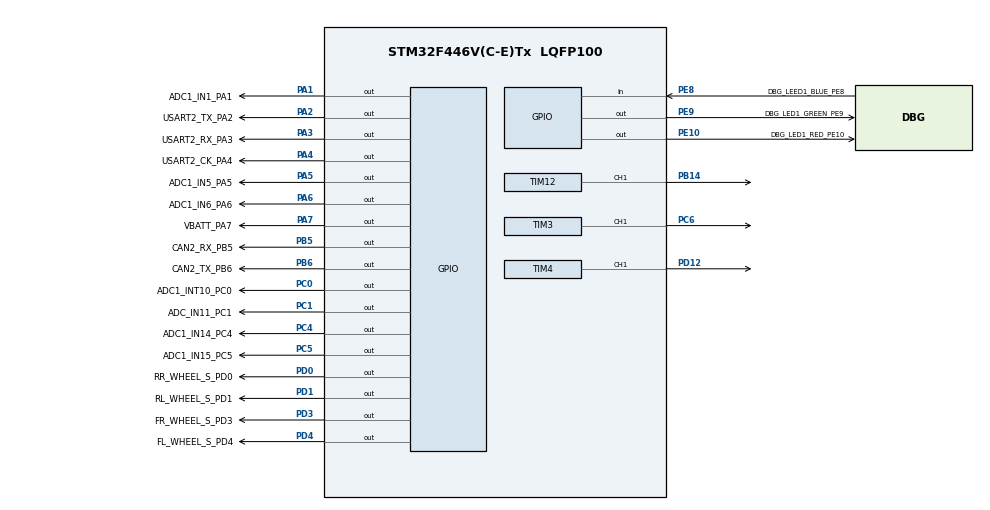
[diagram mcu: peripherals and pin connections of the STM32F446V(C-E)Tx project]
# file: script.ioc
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Mcu.Family=STM32F4
Mcu.Name=STM32F446V(C-E)Tx
Mcu.Package=LQFP100
NVIC.PriorityGroup=NVIC_PRIORITYGROUP_4
PA1.GPIO_Label=ADC1_IN1_PA1
PA1.Signal=GPIO_Output
PA2.GPIO_Label=USART2_TX_PA2
PA2.Signal=GPIO_Output
PA3.GPIO_Label=USART2_RX_PA3
PA3.Signal=GPIO_Output
PA4.GPIO_Label=USART2_CK_PA4
PA4.Signal=GPIO_Output
PA5.GPIO_Label=ADC1_IN5_PA5
PA5.Signal=GPIO_Output
PA6.GPIO_Label=ADC1_IN6_PA6
PA6.Signal=GPIO_Output
PA7.GPIO_Label=VBATT_PA7
PA7.Signal=GPIO_Output
PB14.Signal=S_TIM12_CH1
PB5.GPIO_Label=CAN2_RX_PB5
PB5.Signal=GPIO_Output
PB6.GPIO_Label=CAN2_TX_PB6
PB6.Signal=GPIO_Output
PC0.GPIO_Label=ADC1_INT10_PC0
PC0.Signal=GPIO_Output
PC1.GPIO_Label=ADC_IN11_PC1
PC1.Signal=GPIO_Output
PC4.GPIO_Label=ADC1_IN14_PC4
PC4.Signal=GPIO_Output
PC5.GPIO_Label=ADC1_IN15_PC5
PC5.Signal=GPIO_Output
PC6.Signal=S_TIM3_CH1
PD0.GPIO_Label=RR_WHEEL_S_PD0
PD0.Signal=GPIO_Output
PD1.GPIO_Label=RL_WHEEL_S_PD1
PD1.Signal=GPIO_Output
PD12.Signal=S_TIM4_CH1
PD3.GPIO_Label=FR_WHEEL_S_PD3
PD3.Signal=GPIO_Output
PD4.GPIO_Label=FL_WHEEL_S_PD4
PD4.Signal=GPIO_Output
PE10.GPIO_Label=DBG_LED1_RED_PE10
PE10.Signal=GPIO_Output
PE8.GPIO_Label=DBG_LEED1_BLUE_PE8
PE8.Signal=GPIO_Input
PE9.GPIO_Label=DBG_LED1_GREEN_PE9
PE9.Signal=GPIO_Output
ProjectManager.HeapSize=0x200
ProjectManager.StackSize=0x400
ProjectManager.TargetToolchain=CMake
RCC.CortexFreq_Value=16000000
RCC.USBFreq_Value=96000000
RCC.VCOOutputFreq_Value=192000000
SH.S_TIM12_CH1.0=TIM12_CH1,PWM Generation1 CH1
SH.S_TIM3_CH1.0=TIM3_CH1,PWM Generation1 CH1
SH.S_TIM4_CH1.0=TIM4_CH1,PWM Generation1 CH1
TIM12.Channel-PWM\ Generation1\ CH1=TIM_CHANNEL_1
TIM3.Channel-PWM\ Generation1\ CH1=TIM_CHANNEL_1
TIM4.Channel-PWM\ Generation1\ CH1=TIM_CHANNEL_1
board=custom

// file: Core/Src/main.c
/* USER CODE BEGIN Header */
/**
  ******************************************************************************
  * @file           : main.c
  * @brief          : Main program body
  ******************************************************************************
  * @attention
  *
  * Copyright (c) 2025 STMicroelectronics.
  * All rights reserved.
  *
  * This software is licensed under terms that can be found in the LICENSE file
  * in the root directory of this software component.
  * If no LICENSE file comes with this software, it is provided AS-IS.
  *
  ******************************************************************************
  */
/* USER CODE END Header */
#include "main.h"
#include "tim.h"
#include "gpio.h"

void SystemClock_Config(void);

int main(void)
{

  /* MCU Configuration--------------------------------------------------------*/

  /* Reset of all peripherals, Initializes the Flash interface and the Systick. */
  HAL_Init();

  /* Configure the system clock */
  SystemClock_Config();

  /* Initialize all configured peripherals */
  MX_GPIO_Init();
  MX_TIM3_Init();
  MX_TIM4_Init();
  MX_TIM12_Init();

  /* Infinite loop */
  while (1)
  {

    /* USER CODE BEGIN 3 */

		/**
		*  _____ _____ _____ ____    _______        _
		* / ____|  __ \_   _/ __ \  |__   __|      | |
		*| |  __| |__) || || |  | |    | | ___  ___| |_
		*| | |_ |  ___/ | || |  | |    | |/ _ \/ __| __|
		*| |__| | |    _| || |__| |    | |  __/\__ \ |_
		* \_____|_|   |_____\____/     |_|\___||___/\__|

		*/
	  HAL_GPIO_WritePin(ADC1_IN1_PA1_GPIO_Port, ADC1_IN1_PA1_Pin, GPIO_PIN_RESET);
	  HAL_GPIO_WritePin(USART2_TX_PA2_GPIO_Port, USART2_TX_PA2_Pin, GPIO_PIN_RESET);
	  HAL_GPIO_WritePin(USART2_RX_PA3_GPIO_Port, USART2_RX_PA3_Pin, GPIO_PIN_RESET);
	  HAL_GPIO_WritePin(USART2_CK_PA4_GPIO_Port, USART2_CK_PA4_Pin, GPIO_PIN_RESET);
	  HAL_GPIO_WritePin(ADC1_IN5_PA5_GPIO_Port, ADC1_IN5_PA5_Pin, GPIO_PIN_RESET);
	  HAL_GPIO_WritePin(ADC1_IN6_PA6_GPIO_Port, ADC1_IN6_PA6_Pin, GPIO_PIN_RESET);
	  HAL_GPIO_WritePin(VBATT_PA7_GPIO_Port, VBATT_PA7_Pin, GPIO_PIN_RESET);
	  HAL_GPIO_WritePin(ADC1_IN14_PC4_GPIO_Port, ADC1_IN14_PC4_Pin, GPIO_PIN_RESET);
	  HAL_GPIO_WritePin(ADC1_IN15_PC5_GPIO_Port, ADC1_IN15_PC5_Pin, GPIO_PIN_RESET);
	  HAL_GPIO_WritePin(DBG_LEED1_BLUE_PE8_GPIO_Port, DBG_LEED1_BLUE_PE8_Pin, GPIO_PIN_RESET);
	  HAL_GPIO_WritePin(DBG_LED1_GREEN_PE9_GPIO_Port, DBG_LED1_GREEN_PE9_Pin, GPIO_PIN_RESET);
	  HAL_GPIO_WritePin(DBG_LED1_RED_PE10_GPIO_Port, DBG_LED1_RED_PE10_Pin, GPIO_PIN_RESET);
	  HAL_GPIO_WritePin(RR_WHEEL_S_PD0_GPIO_Port, RR_WHEEL_S_PD0_Pin, GPIO_PIN_RESET);
	  HAL_GPIO_WritePin(RL_WHEEL_S_PD1_GPIO_Port, RL_WHEEL_S_PD1_Pin, GPIO_PIN_RESET);
	  HAL_GPIO_WritePin(FR_WHEEL_S_PD3_GPIO_Port, FR_WHEEL_S_PD3_Pin, GPIO_PIN_RESET);
	  HAL_GPIO_WritePin(FL_WHEEL_S_PD4_GPIO_Port, FL_WHEEL_S_PD4_Pin, GPIO_PIN_RESET);
	  HAL_GPIO_WritePin(CAN2_RX_PB5_GPIO_Port, CAN2_RX_PB5_Pin, GPIO_PIN_RESET);
	  HAL_GPIO_WritePin(CAN2_TX_PB6_GPIO_Port, CAN2_TX_PB6_Pin, GPIO_PIN_RESET);

	  HAL_GPIO_WritePin(GPIOA,GPIO_PIN_0,GPIO_PIN_RESET);
	  HAL_GPIO_WritePin(GPIOC,GPIO_PIN_0,GPIO_PIN_RESET);
	  HAL_GPIO_WritePin(GPIOC,GPIO_PIN_1,GPIO_PIN_RESET);
	  HAL_GPIO_WritePin(GPIOC,GPIO_PIN_2,GPIO_PIN_RESET);
	  HAL_GPIO_WritePin(GPIOC,GPIO_PIN_3,GPIO_PIN_RESET);
	  HAL_GPIO_WritePin(GPIOC,GPIO_PIN_4,GPIO_PIN_RESET);

	  HAL_Delay(500);

	  HAL_GPIO_WritePin(ADC1_IN1_PA1_GPIO_Port, ADC1_IN1_PA1_Pin, GPIO_PIN_SET);
	  HAL_GPIO_WritePin(USART2_TX_PA2_GPIO_Port, USART2_TX_PA2_Pin, GPIO_PIN_SET);
	  HAL_GPIO_WritePin(USART2_RX_PA3_GPIO_Port, USART2_RX_PA3_Pin, GPIO_PIN_SET);
	  HAL_GPIO_WritePin(USART2_CK_PA4_GPIO_Port, USART2_CK_PA4_Pin, GPIO_PIN_SET);
	  HAL_GPIO_WritePin(ADC1_IN5_PA5_GPIO_Port, ADC1_IN5_PA5_Pin, GPIO_PIN_SET);
	  HAL_GPIO_WritePin(ADC1_IN6_PA6_GPIO_Port, ADC1_IN6_PA6_Pin, GPIO_PIN_SET);
	  HAL_GPIO_WritePin(VBATT_PA7_GPIO_Port, VBATT_PA7_Pin, GPIO_PIN_SET);
	  HAL_GPIO_WritePin(ADC1_IN14_PC4_GPIO_Port, ADC1_IN14_PC4_Pin, GPIO_PIN_SET);
	  HAL_GPIO_WritePin(ADC1_IN15_PC5_GPIO_Port, ADC1_IN15_PC5_Pin, GPIO_PIN_SET);
	  HAL_GPIO_WritePin(DBG_LEED1_BLUE_PE8_GPIO_Port, DBG_LEED1_BLUE_PE8_Pin, GPIO_PIN_SET);
	  HAL_GPIO_WritePin(DBG_LED1_GREEN_PE9_GPIO_Port, DBG_LED1_GREEN_PE9_Pin, GPIO_PIN_SET);
	  HAL_GPIO_WritePin(DBG_LED1_RED_PE10_GPIO_Port, DBG_LED1_RED_PE10_Pin, GPIO_PIN_SET);
	  HAL_GPIO_WritePin(RR_WHEEL_S_PD0_GPIO_Port, RR_WHEEL_S_PD0_Pin, GPIO_PIN_SET);
	  HAL_GPIO_WritePin(RL_WHEEL_S_PD1_GPIO_Port, RL_WHEEL_S_PD1_Pin, GPIO_PIN_SET);
	  HAL_GPIO_WritePin(FR_WHEEL_S_PD3_GPIO_Port, FR_WHEEL_S_PD3_Pin, GPIO_PIN_SET);
	  HAL_GPIO_WritePin(FL_WHEEL_S_PD4_GPIO_Port, FL_WHEEL_S_PD4_Pin, GPIO_PIN_SET);
	  HAL_GPIO_WritePin(CAN2_RX_PB5_GPIO_Port, CAN2_RX_PB5_Pin, GPIO_PIN_SET);
	  HAL_GPIO_WritePin(CAN2_TX_PB6_GPIO_Port, CAN2_TX_PB6_Pin, GPIO_PIN_SET);

	  HAL_GPIO_WritePin(GPIOA,GPIO_PIN_0,GPIO_PIN_SET);
	  HAL_GPIO_WritePin(GPIOC,GPIO_PIN_0,GPIO_PIN_SET);
	  HAL_GPIO_WritePin(GPIOC,GPIO_PIN_1,GPIO_PIN_SET);
	  HAL_GPIO_WritePin(GPIOC,GPIO_PIN_2,GPIO_PIN_SET);
	  HAL_GPIO_WritePin(GPIOC,GPIO_PIN_3,GPIO_PIN_SET);
	  HAL_GPIO_WritePin(GPIOC,GPIO_PIN_4,GPIO_PIN_SET);

  }
  /* USER CODE END 3 */
}

void SystemClock_Config(void)
{
  RCC_OscInitTypeDef RCC_OscInitStruct = {0};
  RCC_ClkInitTypeDef RCC_ClkInitStruct = {0};

  /** Configure the main internal regulator output voltage
  */
  __HAL_RCC_PWR_CLK_ENABLE();
  __HAL_PWR_VOLTAGESCALING_CONFIG(PWR_REGULATOR_VOLTAGE_SCALE3);

  /** Initializes the RCC Oscillators according to the specified parameters
  * in the RCC_OscInitTypeDef structure.
  */
  RCC_OscInitStruct.OscillatorType = RCC_OSCILLATORTYPE_HSI;
  RCC_OscInitStruct.HSIState = RCC_HSI_ON;
  RCC_OscInitStruct.HSICalibrationValue = RCC_HSICALIBRATION_DEFAULT;
  RCC_OscInitStruct.PLL.PLLState = RCC_PLL_NONE;
  if (HAL_RCC_OscConfig(&RCC_OscInitStruct) != HAL_OK)
  {
    Error_Handler();
  }

  /** Initializes the CPU, AHB and APB buses clocks
  */
  RCC_ClkInitStruct.ClockType = RCC_CLOCKTYPE_HCLK|RCC_CLOCKTYPE_SYSCLK
                              |RCC_CLOCKTYPE_PCLK1|RCC_CLOCKTYPE_PCLK2;
  RCC_ClkInitStruct.SYSCLKSource = RCC_SYSCLKSOURCE_HSI;
  RCC_ClkInitStruct.AHBCLKDivider = RCC_SYSCLK_DIV1;
  RCC_ClkInitStruct.APB1CLKDivider = RCC_HCLK_DIV1;
  RCC_ClkInitStruct.APB2CLKDivider = RCC_HCLK_DIV1;

  if (HAL_RCC_ClockConfig(&RCC_ClkInitStruct, FLASH_LATENCY_0) != HAL_OK)
  {
    Error_Handler();
  }
}

void Error_Handler(void)
{
  __disable_irq();
  while (1)
  {
  }
}
